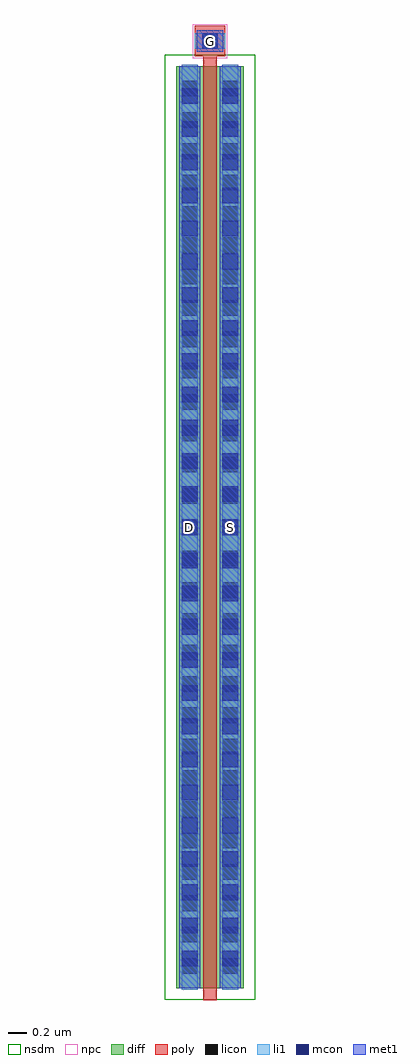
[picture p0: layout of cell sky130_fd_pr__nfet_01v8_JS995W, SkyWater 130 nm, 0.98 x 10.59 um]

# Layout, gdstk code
import gdstk
lib = gdstk.Library(unit=1e-6, precision=1e-09)
def R(c, l, rs):  # rectangles x0, y0, x1, y1
    for r in rs: c.add(gdstk.rectangle(r[:2], r[2:], *l))
def A(c, l, x, y, w, h, nx, ny, dx, dy):  # array of equal rectangles
    R(c, l, [(x+i*dx, y+j*dy, x+i*dx+w, y+j*dy+h) for i in range(nx) for j in range(ny)])
diff = (65, 20)
poly = (66, 20)
licon = (66, 44)
li1 = (67, 20)
mcon = (67, 44)
met1 = (68, 20)
nsdm = (93, 44)
npc = (95, 20)

sky130_fd_pr__nfet_01v8_ = lib.new_cell('sky130_fd_pr__nfet_01v8_JS995W')
R(sky130_fd_pr__nfet_01v8_, diff, [(-0.365,-5.155,0.365,4.845)])
R(sky130_fd_pr__nfet_01v8_, poly, [(-0.075,-5.285,0.075,4.955), (-0.165,4.955,0.165,5.285)])
A(sky130_fd_pr__nfet_01v8_, licon, -0.305, -5, 0.17, 0.17, 1, 29, 0, 0.34)
A(sky130_fd_pr__nfet_01v8_, licon, 0.135, -5, 0.17, 0.17, 1, 29, 0, 0.34)
R(sky130_fd_pr__nfet_01v8_, licon, [(-0.085,5.035,0.085,5.205)])
R(sky130_fd_pr__nfet_01v8_, li1, [(-0.305,-5.175,-0.135,4.865), (0.135,-5.175,0.305,4.865), (-0.165,5.035,0.165,5.205)])
A(sky130_fd_pr__nfet_01v8_, mcon, -0.305, -4.92, 0.17, 0.17, 1, 27, 0, 0.36)
A(sky130_fd_pr__nfet_01v8_, mcon, 0.135, -4.92, 0.17, 0.17, 1, 27, 0, 0.36)
R(sky130_fd_pr__nfet_01v8_, mcon, [(-0.085,5.035,0.085,5.205)])
R(sky130_fd_pr__nfet_01v8_, met1, [(-0.335,-5.155,-0.105,4.845), (0.105,-5.155,0.335,4.845), (-0.145,5.005,0.145,5.235)])
R(sky130_fd_pr__nfet_01v8_, nsdm, [(-0.49,-5.28,0.49,4.97)])
R(sky130_fd_pr__nfet_01v8_, npc, [(-0.185,4.935,0.185,5.305)])
sky130_fd_pr__nfet_01v8_.add(gdstk.Label('D', (-0.22,-0.155), layer=67, texttype=5))
sky130_fd_pr__nfet_01v8_.add(gdstk.Label('S', (0.22,-0.155), layer=67, texttype=5))
sky130_fd_pr__nfet_01v8_.add(gdstk.Label('G', (0,5.12), layer=67, texttype=5))

lib.write_gds('sky130_fd_pr__nfet_01v8_JS995W.gds')
